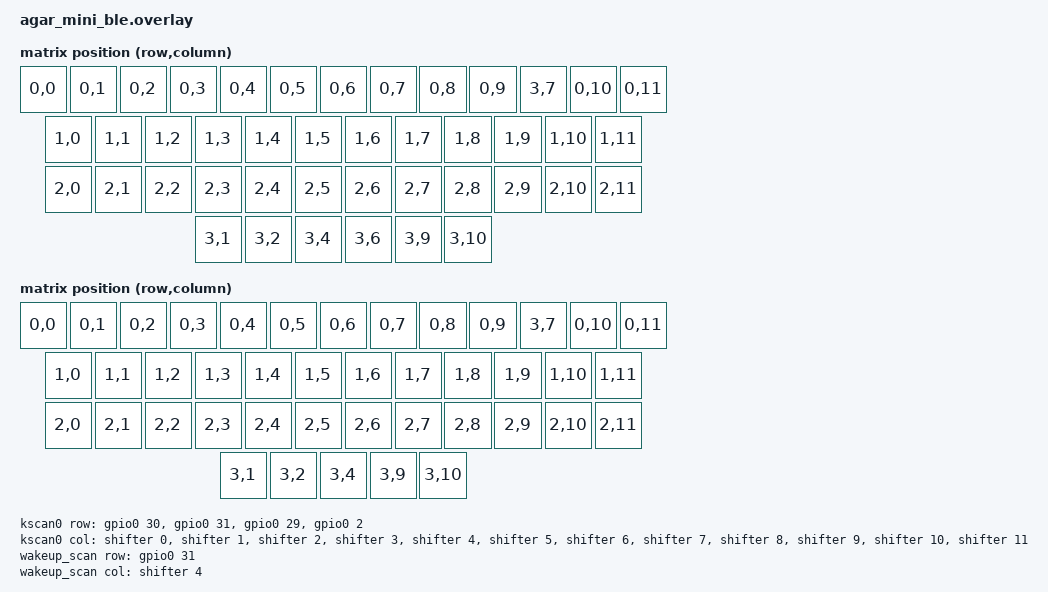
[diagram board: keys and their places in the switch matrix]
/*
 * KBDfans Agar mini (dual-mode) on the klink controller.
 *
 * Based on KBDfans' common.overlay and agar_mini_ble.overlay, merged into one
 * file. Dropped: the WS2812 strip on spi3 (the board has no RGB) and a chosen
 * layout that was immediately overridden.
 *
 * SPDX-License-Identifier: MIT
 */

#include <dt-bindings/zmk/matrix_transform.h>
#include <physical_layouts.dtsi>

/*
 * Key matrix: 4 rows on GPIOs, 12 columns driven through a 74HC595 shift
 * register on spi0.
 */

&pinctrl {
    spi0_default: spi0_default {
        group1 {
            psels = <NRF_PSEL(SPIM_SCK,  1, 13)>,
                    <NRF_PSEL(SPIM_MOSI, 0, 28)>;
        };
    };

    spi0_sleep: spi0_sleep {
        group1 {
            psels = <NRF_PSEL(SPIM_SCK,  1, 13)>,
                    <NRF_PSEL(SPIM_MOSI, 0, 28)>;
            low-power-enable;
        };
    };
};

&spi0 {
    compatible = "nordic,nrf-spim";
    pinctrl-0 = <&spi0_default>;
    pinctrl-1 = <&spi0_sleep>;
    pinctrl-names = "default", "sleep";
    status = "okay";
    cs-gpios = <&gpio1 0 GPIO_ACTIVE_LOW>;

    shifter: 595@0 {
        compatible = "zmk,gpio-595";
        status = "okay";
        gpio-controller;
        spi-max-frequency = <8000000>;
        reg = <0>;
        #gpio-cells = <2>;
        ngpios = <16>;
    };
};

/ {
    chosen {
        zmk,battery = &vbatt;
        zmk,kscan = &kscan0;
        zmk,physical-layout = &layout_all;
    };

    kscan0: kscan_keys {
        compatible = "zmk,kscan-gpio-matrix";
        wakeup-source;
        diode-direction = "col2row";
        col-gpios
            = <&shifter 0 GPIO_ACTIVE_LOW>
            , <&shifter 1 GPIO_ACTIVE_LOW>
            , <&shifter 2 GPIO_ACTIVE_LOW>
            , <&shifter 3 GPIO_ACTIVE_LOW>
            , <&shifter 4 GPIO_ACTIVE_LOW>
            , <&shifter 5 GPIO_ACTIVE_LOW>
            , <&shifter 6 GPIO_ACTIVE_LOW>
            , <&shifter 7 GPIO_ACTIVE_LOW>
            , <&shifter 8 GPIO_ACTIVE_LOW>
            , <&shifter 9 GPIO_ACTIVE_LOW>
            , <&shifter 10 GPIO_ACTIVE_LOW>
            , <&shifter 11 GPIO_ACTIVE_LOW>
            ;
        row-gpios
            = <&gpio0 30 (GPIO_ACTIVE_LOW | GPIO_PULL_UP)>
            , <&gpio0 31 (GPIO_ACTIVE_LOW | GPIO_PULL_UP)>
            , <&gpio0 29 (GPIO_ACTIVE_LOW | GPIO_PULL_UP)>
            , <&gpio0  2 (GPIO_ACTIVE_LOW | GPIO_PULL_UP)>
            ;
    };

    /* Soft off: only the F key, RC(1,4), wakes the keyboard */
    wakeup_scan: wakeup_scan {
        compatible = "zmk,kscan-gpio-matrix";
        wakeup-source;
        diode-direction = "col2row";
        col-gpios = <&shifter 4 GPIO_ACTIVE_LOW>;
        row-gpios = <&gpio0 31 (GPIO_ACTIVE_LOW | GPIO_PULL_UP)>;
    };

    soft_off_wakers {
        compatible = "zmk,soft-off-wakeup-sources";
        wakeup-sources = <&wakeup_scan>;
    };

    /* Status light: P1.11 red, P1.10 green, P0.03 blue */
    aliases {
        indicator-r = &led0;
        indicator-g = &led1;
        indicator-b = &led2;
    };

    leds {
        compatible = "gpio-leds";
        status = "okay";
        led0: led_0 { gpios = <&gpio1 11 GPIO_ACTIVE_LOW>; };
        led1: led_1 { gpios = <&gpio1 10 GPIO_ACTIVE_LOW>; };
        led2: led_2 { gpios = <&gpio0  3 GPIO_ACTIVE_LOW>; };
    };

    vbatt: vbatt {
        compatible = "zmk,battery-voltage-divider";
        io-channels = <&adc 3>;
        output-ohms = <2000000>;
        full-ohms = <(2000000 + 820000)>;
    };

    /* Split 3u + 3u space bar: all 43 keys */
    matrix_transform_all: matrix_transform_all {
        compatible = "zmk,matrix-transform";
        columns = <12>;
        rows = <4>;
        map = <
RC(0,0) RC(0,1) RC(0,2) RC(0,3) RC(0,4) RC(0,5) RC(0,6) RC(0,7) RC(0,8) RC(0,9) RC(3,7) RC(0,10) RC(0,11)
RC(1,0)   RC(1,1) RC(1,2) RC(1,3) RC(1,4) RC(1,5) RC(1,6) RC(1,7) RC(1,8) RC(1,9) RC(1,10)    RC(1,11)
RC(2,0)     RC(2,1) RC(2,2) RC(2,3) RC(2,4) RC(2,5) RC(2,6) RC(2,7) RC(2,8) RC(2,9)   RC(2,10)   RC(2,11)
       RC(3,1) RC(3,2)            RC(3,4)                 RC(3,6)            RC(3,9)   RC(3,10)
        >;
    };

    /* Single 6u space bar: RC(3,6) is not fitted */
    matrix_transform_6u: matrix_transform_6u {
        compatible = "zmk,matrix-transform";
        columns = <12>;
        rows = <4>;
        map = <
RC(0,0) RC(0,1) RC(0,2) RC(0,3) RC(0,4) RC(0,5) RC(0,6) RC(0,7) RC(0,8) RC(0,9) RC(3,7) RC(0,10) RC(0,11)
RC(1,0)   RC(1,1) RC(1,2) RC(1,3) RC(1,4) RC(1,5) RC(1,6) RC(1,7) RC(1,8) RC(1,9) RC(1,10)    RC(1,11)
RC(2,0)     RC(2,1) RC(2,2) RC(2,3) RC(2,4) RC(2,5) RC(2,6) RC(2,7) RC(2,8) RC(2,9)   RC(2,10)   RC(2,11)
       RC(3,1) RC(3,2)            RC(3,4)                                    RC(3,9)   RC(3,10)
        >;
    };
};

/* Key sizes and positions, in hundredths of a key unit */
                    //                     w   h    x    y     rot    rx    ry
#define FIXED_3ROWS   <&key_physical_attrs 100 100    0    0       0     0     0> \
                    , <&key_physical_attrs 100 100  100    0       0     0     0> \
                    , <&key_physical_attrs 100 100  200    0       0     0     0> \
                    , <&key_physical_attrs 100 100  300    0       0     0     0> \
                    , <&key_physical_attrs 100 100  400    0       0     0     0> \
                    , <&key_physical_attrs 100 100  500    0       0     0     0> \
                    , <&key_physical_attrs 100 100  600    0       0     0     0> \
                    , <&key_physical_attrs 100 100  700    0       0     0     0> \
                    , <&key_physical_attrs 100 100  800    0       0     0     0> \
                    , <&key_physical_attrs 100 100  900    0       0     0     0> \
                    , <&key_physical_attrs 100 100 1000    0       0     0     0> \
                    , <&key_physical_attrs 100 100 1100    0       0     0     0> \
                    , <&key_physical_attrs 100 100 1200    0       0     0     0> \
                    , <&key_physical_attrs 125 100    0  100       0     0     0> \
                    , <&key_physical_attrs 100 100  125  100       0     0     0> \
                    , <&key_physical_attrs 100 100  225  100       0     0     0> \
                    , <&key_physical_attrs 100 100  325  100       0     0     0> \
                    , <&key_physical_attrs 100 100  425  100       0     0     0> \
                    , <&key_physical_attrs 100 100  525  100       0     0     0> \
                    , <&key_physical_attrs 100 100  625  100       0     0     0> \
                    , <&key_physical_attrs 100 100  725  100       0     0     0> \
                    , <&key_physical_attrs 100 100  825  100       0     0     0> \
                    , <&key_physical_attrs 100 100  925  100       0     0     0> \
                    , <&key_physical_attrs 100 100 1025  100       0     0     0> \
                    , <&key_physical_attrs 175 100 1125  100       0     0     0> \
                    , <&key_physical_attrs 175 100    0  200       0     0     0> \
                    , <&key_physical_attrs 100 100  175  200       0     0     0> \
                    , <&key_physical_attrs 100 100  275  200       0     0     0> \
                    , <&key_physical_attrs 100 100  375  200       0     0     0> \
                    , <&key_physical_attrs 100 100  475  200       0     0     0> \
                    , <&key_physical_attrs 100 100  575  200       0     0     0> \
                    , <&key_physical_attrs 100 100  675  200       0     0     0> \
                    , <&key_physical_attrs 100 100  775  200       0     0     0> \
                    , <&key_physical_attrs 100 100  875  200       0     0     0> \
                    , <&key_physical_attrs 100 100  975  200       0     0     0> \
                    , <&key_physical_attrs 125 100 1075  200       0     0     0> \
                    , <&key_physical_attrs 100 100 1200  200       0     0     0>

#define SPACE_3U      <&key_physical_attrs 100 100  125  300       0     0     0> \
                    , <&key_physical_attrs 125 100  225  300       0     0     0> \
                    , <&key_physical_attrs 300 100  350  300       0     0     0> \
                    , <&key_physical_attrs 300 100  650  300       0     0     0> \
                    , <&key_physical_attrs 125 100  950  300       0     0     0> \
                    , <&key_physical_attrs 100 100 1075  300       0     0     0>

#define SPACE_6U      <&key_physical_attrs 100 100  125  300       0     0     0> \
                    , <&key_physical_attrs 125 100  225  300       0     0     0> \
                    , <&key_physical_attrs 600 100  350  300       0     0     0> \
                    , <&key_physical_attrs 125 100  950  300       0     0     0> \
                    , <&key_physical_attrs 100 100 1075  300       0     0     0>

/ {
    layout_all: layout_all {
        compatible = "zmk,physical-layout";
        display-name = "SPACE 3U*2";
        transform = <&matrix_transform_all>;
        keys = FIXED_3ROWS, SPACE_3U;
    };

    layout_6u: layout_6u {
        compatible = "zmk,physical-layout";
        display-name = "SPACE 6U";
        transform = <&matrix_transform_6u>;
        keys = FIXED_3ROWS, SPACE_6U;
    };

    /* How keymap positions carry over when switching layouts in ZMK Studio */
    layouts_position_map {
        compatible = "zmk,physical-layout-position-map";
        complete;

        position_map_all: position_map_all {
            physical-layout = <&layout_all>;
            positions
                = < 0  1  2  3  4  5  6  7  8  9 10 11 12>
                , <13  14 15 16 17 18 19 20 21 22 23  24 >
                , <25   26 27 28 29 30 31 32 33 34  35 36>
                , <    37  38     39     40    41  42    >;
        };

        position_map_6u: position_map_6u {
            physical-layout = <&layout_6u>;
            positions
                = < 0  1  2  3  4  5  6  7  8  9 10 11 12>
                , <13  14 15 16 17 18 19 20 21 22 23  24 >
                , <25   26 27 28 29 30 31 32 33 34  35 36>
                , <    37  38    39    42    40  41    >;
        };
    };
};
